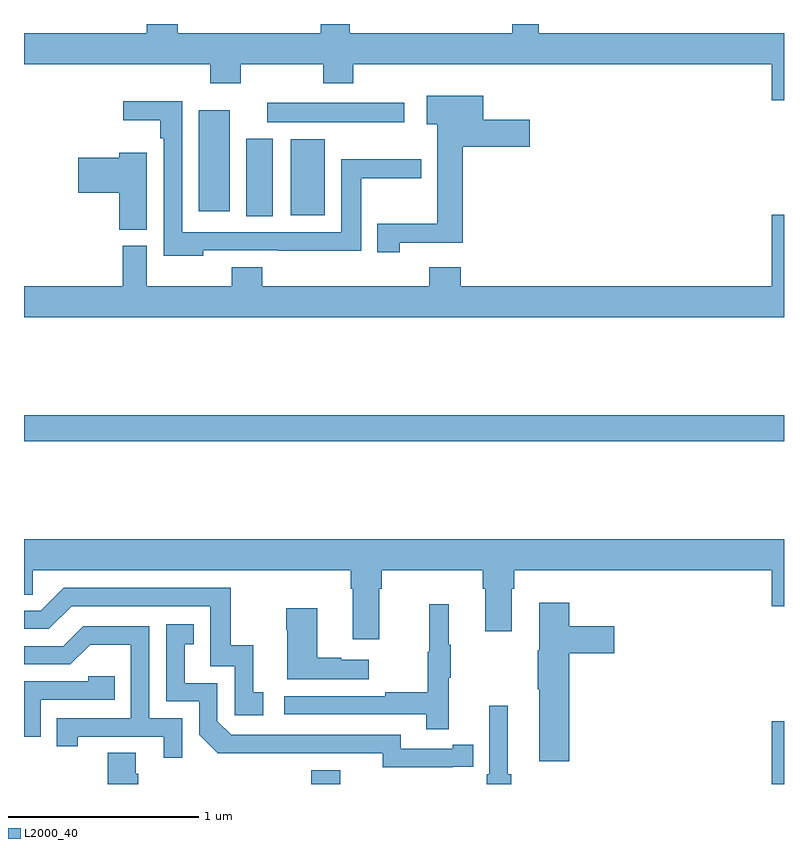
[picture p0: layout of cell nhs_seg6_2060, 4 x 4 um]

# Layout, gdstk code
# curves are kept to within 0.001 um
import gdstk
lib = gdstk.Library(unit=1e-6, precision=1e-09)
def R(c, l, rs):  # rectangles x0, y0, x1, y1
    for r in rs: c.add(gdstk.rectangle(r[:2], r[2:], *l))
def P(c, l, *ps):  # polygons
    for p in ps: c.add(gdstk.Polygon(p, *l))
L2000_40 = (2000, 40)

nhs_seg6_2060 = lib.new_cell('nhs_seg6_2060')
R(nhs_seg6_2060, L2000_40, [(234.512,991.5,234.664,991.573), (236.936,991.5,237,991.831), (233,993.304,237,993.44), (234.17,994.489,234.31,994.897), (234.404,994.493,234.583,994.894), (233.921,994.515,234.082,995.047), (234.279,994.982,235,995.086)])
P(nhs_seg6_2060, L2000_40, [(237,995.452),(235.71,995.452),(235.71,995.5),(235.571,995.5),(235.571,995.452),(234.715,995.452),(234.715,995.5),(234.563,995.5),(234.563,995.452),(233.81,995.452),(233.81,995.5),(233.645,995.5),(233.645,995.452),(233,995.452),(233,995.288),(233.981,995.288),(233.981,995.189),(234.141,995.189),(234.141,995.288),(234.574,995.288),(234.574,995.189),(234.734,995.189),(234.734,995.288),(236.936,995.288),(236.936,995.1),(237,995.1)],
  [(234.978,994.349),(235.31,994.349),(235.31,994.853),(235.663,994.853),(235.663,994.995),(235.417,994.995),(235.417,995.122),(235.119,995.122),(235.119,994.973),(235.175,994.973),(235.175,994.449),(234.86,994.449),(234.86,994.299),(234.978,994.299)],
  [(233.943,994.308),(234.337,994.308),(234.337,994.307),(234.775,994.307),(234.775,994.687),(235.09,994.687),(235.09,994.787),(234.671,994.787),(234.671,994.404),(233.832,994.404),(233.832,995.093),(233.523,995.093),(233.523,994.994),(233.716,994.994),(233.716,994.898),(233.736,994.898),(233.736,994.28),(233.943,994.28)],
  [(233.647,994.822),(233.501,994.822),(233.501,994.796),(233.286,994.796),(233.286,994.613),(233.501,994.613),(233.501,994.417),(233.647,994.417)],
  [(237,994.495),(236.936,994.495),(236.936,994.12),(235.298,994.12),(235.298,994.219),(235.133,994.219),(235.133,994.12),(234.254,994.12),(234.254,994.219),(234.094,994.219),(234.094,994.12),(233.647,994.12),(233.647,994.332),(233.519,994.332),(233.519,994.12),(233,994.12),(233,993.956),(237,993.956)],
  [(233,992.497),(233.046,992.497),(233.046,992.624),(234.719,992.624),(234.719,992.528),(234.731,992.528),(234.731,992.262),(234.871,992.262),(234.871,992.528),(234.884,992.528),(234.884,992.624),(235.415,992.624),(235.415,992.528),(235.427,992.528),(235.427,992.304),(235.567,992.304),(235.567,992.528),(235.58,992.528),(235.58,992.624),(236.936,992.624),(236.936,992.436),(237,992.436),(237,992.788),(233,992.788)],
  [(234.259,991.983),(234.206,991.983),(234.206,992.23),(234.088,992.23),(234.088,992.532),(233.208,992.532),(233.088,992.412),(233,992.412),(233,992.316),(233.13,992.316),(233.25,992.436),(233.979,992.436),(233.979,992.121),(234.108,992.121),(234.108,991.863),(234.259,991.863)],
  [(235.871,992.189),(236.107,992.189),(236.107,992.331),(235.871,992.331),(235.871,992.455),(235.712,992.455),(235.712,992.205),(235.705,992.205),(235.705,991.999),(235.712,991.999),(235.712,991.62),(235.871,991.62)],
  [(235.235,992.059),(235.246,992.059),(235.246,992.233),(235.235,992.233),(235.235,992.446),(235.132,992.446),(235.132,992.196),(235.125,992.196),(235.125,991.982),(234.901,991.982),(234.901,991.962),(234.369,991.962),(234.369,991.866),(235.117,991.866),(235.117,991.788),(235.235,991.788)],
  [(234.814,992.155),(234.671,992.155),(234.671,992.165),(234.544,992.165),(234.544,992.425),(234.379,992.425),(234.379,992.312),(234.386,992.312),(234.386,992.051),(234.814,992.051)],
  [(235.256,991.59),(235.364,991.59),(235.364,991.706),(235.256,991.706),(235.256,991.686),(234.984,991.686),(234.984,991.758),(234.09,991.758),(234.018,991.83),(234.018,992.031),(233.845,992.031),(233.845,992.235),(233.894,992.235),(233.894,992.341),(233.748,992.341),(233.748,991.935),(233.922,991.935),(233.922,991.758),(234.02,991.661),(234.888,991.662),(234.888,991.589)],
  [(233.832,991.845),(233.658,991.845),(233.658,992.331),(233.312,992.331),(233.207,992.226),(233,992.226),(233,992.13),(233.244,992.13),(233.348,992.234),(233.562,992.234),(233.562,991.845),(233.173,991.845),(233.173,991.698),(233.284,991.698),(233.284,991.749),(233.735,991.749),(233.735,991.638),(233.832,991.638)],
  [(233.088,991.944),(233.477,991.944),(233.477,992.067),(233.337,992.067),(233.337,992.04),(233,992.04),(233,991.749),(233.088,991.749)],
  [(235.565,991.552),(235.546,991.552),(235.546,991.912),(235.449,991.912),(235.449,991.552),(235.436,991.552),(235.436,991.5),(235.565,991.5)],
  [(233.6,991.554),(233.587,991.554),(233.587,991.664),(233.44,991.664),(233.44,991.5),(233.6,991.5)])

lib.write_gds('nhs_seg6_2060.gds')
